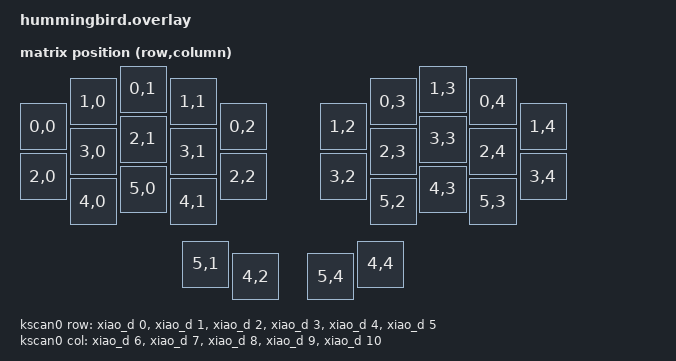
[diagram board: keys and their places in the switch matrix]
/*
 * Copyright (c) 2022 The ZMK Contributors
 *
 * SPDX-License-Identifier: MIT
 */

#include <dt-bindings/zmk/matrix_transform.h>

#include <physical_layouts.dtsi>

/ {
    chosen {
        zmk,kscan = &kscan0;
    };

    default_transform: keymap_transform_0 {
        compatible = "zmk,matrix-transform";
        columns = <7>;
        rows = <6>;
        map = <
    RC(0,0) RC(1,0) RC(0,1) RC(1,1) RC(0,2) RC(1,2) RC(0,3) RC(1,3) RC(0,4) RC(1,4)
    RC(2,0) RC(3,0) RC(2,1) RC(3,1) RC(2,2) RC(3,2) RC(2,3) RC(3,3) RC(2,4) RC(3,4)
            RC(4,0) RC(5,0) RC(4,1)                 RC(5,2) RC(4,3) RC(5,3)
                          RC(5,1) RC(4,2)       RC(5,4) RC(4,4)
        >;
    };


    kscan0: kscan_0 {
        compatible = "zmk,kscan-gpio-matrix";
        wakeup-source;

        diode-direction = "row2col";

        col-gpios
            = <&xiao_d 6 (GPIO_ACTIVE_HIGH | GPIO_PULL_DOWN)>
            , <&xiao_d 7 (GPIO_ACTIVE_HIGH | GPIO_PULL_DOWN)>
            , <&xiao_d 8 (GPIO_ACTIVE_HIGH | GPIO_PULL_DOWN)>
            , <&xiao_d 9 (GPIO_ACTIVE_HIGH | GPIO_PULL_DOWN)>
            , <&xiao_d 10 (GPIO_ACTIVE_HIGH | GPIO_PULL_DOWN)>
            ;

        row-gpios
            = <&xiao_d 0 GPIO_ACTIVE_HIGH>
            , <&xiao_d 1 GPIO_ACTIVE_HIGH>
            , <&xiao_d 2 GPIO_ACTIVE_HIGH>
            , <&xiao_d 3 GPIO_ACTIVE_HIGH>
            , <&xiao_d 4 GPIO_ACTIVE_HIGH>
            , <&xiao_d 5 GPIO_ACTIVE_HIGH>
            ;
    };


    layout_0: layout_0 {
        compatible = "zmk,physical-layout";
        display-name = "Default";

        transform = <&default_transform>;

        keys  //                     w   h    x    y     rot    rx    ry
            = <&key_physical_attrs 100 100    0   75       0     0     0>
            , <&key_physical_attrs 100 100  100   25       0     0     0>
            , <&key_physical_attrs 100 100  200    0       0     0     0>
            , <&key_physical_attrs 100 100  300   25       0     0     0>
            , <&key_physical_attrs 100 100  400   75       0     0     0>
            , <&key_physical_attrs 100 100  600   75       0     0     0>
            , <&key_physical_attrs 100 100  700   25       0     0     0>
            , <&key_physical_attrs 100 100  800    0       0     0     0>
            , <&key_physical_attrs 100 100  900   25       0     0     0>
            , <&key_physical_attrs 100 100 1000   75       0     0     0>
            , <&key_physical_attrs 100 100    0  175       0     0     0>
            , <&key_physical_attrs 100 100  100  125       0     0     0>
            , <&key_physical_attrs 100 100  200  100       0     0     0>
            , <&key_physical_attrs 100 100  300  125       0     0     0>
            , <&key_physical_attrs 100 100  400  175       0     0     0>
            , <&key_physical_attrs 100 100  600  175       0     0     0>
            , <&key_physical_attrs 100 100  700  125       0     0     0>
            , <&key_physical_attrs 100 100  800  100       0     0     0>
            , <&key_physical_attrs 100 100  900  125       0     0     0>
            , <&key_physical_attrs 100 100 1000  175       0     0     0>
            , <&key_physical_attrs 100 100  100  225       0     0     0>
            , <&key_physical_attrs 100 100  200  200       0     0     0>
            , <&key_physical_attrs 100 100  300  225       0     0     0>
            , <&key_physical_attrs 100 100  700  225       0     0     0>
            , <&key_physical_attrs 100 100  800  200       0     0     0>
            , <&key_physical_attrs 100 100  900  225       0     0     0>
            , <&key_physical_attrs 100 100  325  350       0     0     0>
            , <&key_physical_attrs 100 100  425  375       0     0     0>
            , <&key_physical_attrs 100 100  575  375       0     0     0>
            , <&key_physical_attrs 100 100  675  350       0     0     0>
            ;
    };

};
